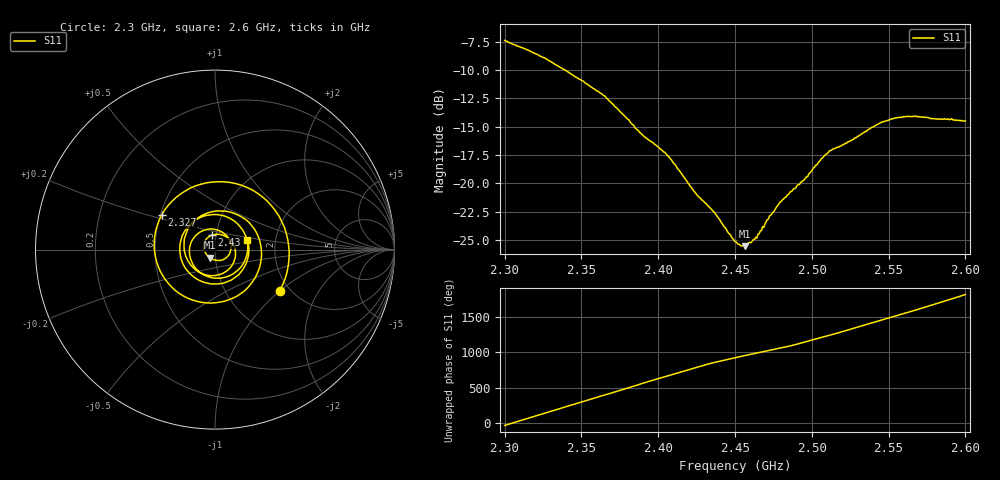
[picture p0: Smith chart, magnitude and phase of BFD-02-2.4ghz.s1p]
! NanoVNA-App
! Date: 2026-05-22 18:15:29
! Start: 2.3GHz Stop: 2.6GHz Points: 401
! S-Parameter data: F S11
# Hz S RI R 50
!  Frequency  S11_Real  S11_Imag
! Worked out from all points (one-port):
!   401 points, 2.3 GHz to 2.6 GHz, reference 50 ohm
!   lowest |S11| = -25.5 dB at 2.457 GHz (marker M1), VSWR 1.11, Z = 47 - j4.17 ohm
!   |S11| at or under -10 dB: 2.339 GHz to end of sweep
!   S11 on the Smith chart (normalised r, x): 2.3 GHz: 1.77, -0.99; 2.327 GHz: 0.51, +0.22; 2.43 GHz: 0.95, +0.15; 2.6 GHz: 1.43, +0.15
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2.3e9  0.3607 -0.2284
2.3075e9  0.3872 0.1228
2.315e9  0.147 0.3589
2.32025e9  -0.0805 0.3636
2.327e9  -0.2967 0.1922
2.3375e9  -0.2579 -0.1908
2.3465e9  0.0313 -0.2921
2.357e9  0.2551 -0.0677
2.36675e9  0.1597 0.1741
2.375e9  -0.0432 0.2034
2.38475e9  -0.1721 0.0396
2.396e9  -0.0679 -0.1357
2.4125e9  0.114 -0.0229
2.4305e9  -0.0192 0.0796
2.45e9  -0.0509 -0.0217
2.45675e9  -0.0289 -0.0442
2.4875e9  0.0881 0.0306
2.50475e9  -0.0653 0.1062
2.51525e9  -0.1422 -0.00903
2.525e9  -0.0654 -0.1393
2.534e9  0.0924 -0.1399
2.54375e9  0.1828 0.0172
2.55425e9  0.0606 0.1844
2.5625e9  -0.1114 0.1629
2.573e9  -0.1917 -0.042
2.5835e9  -0.0239 -0.191
2.5925e9  0.1547 -0.1117
2.6e9  0.181 0.0518
